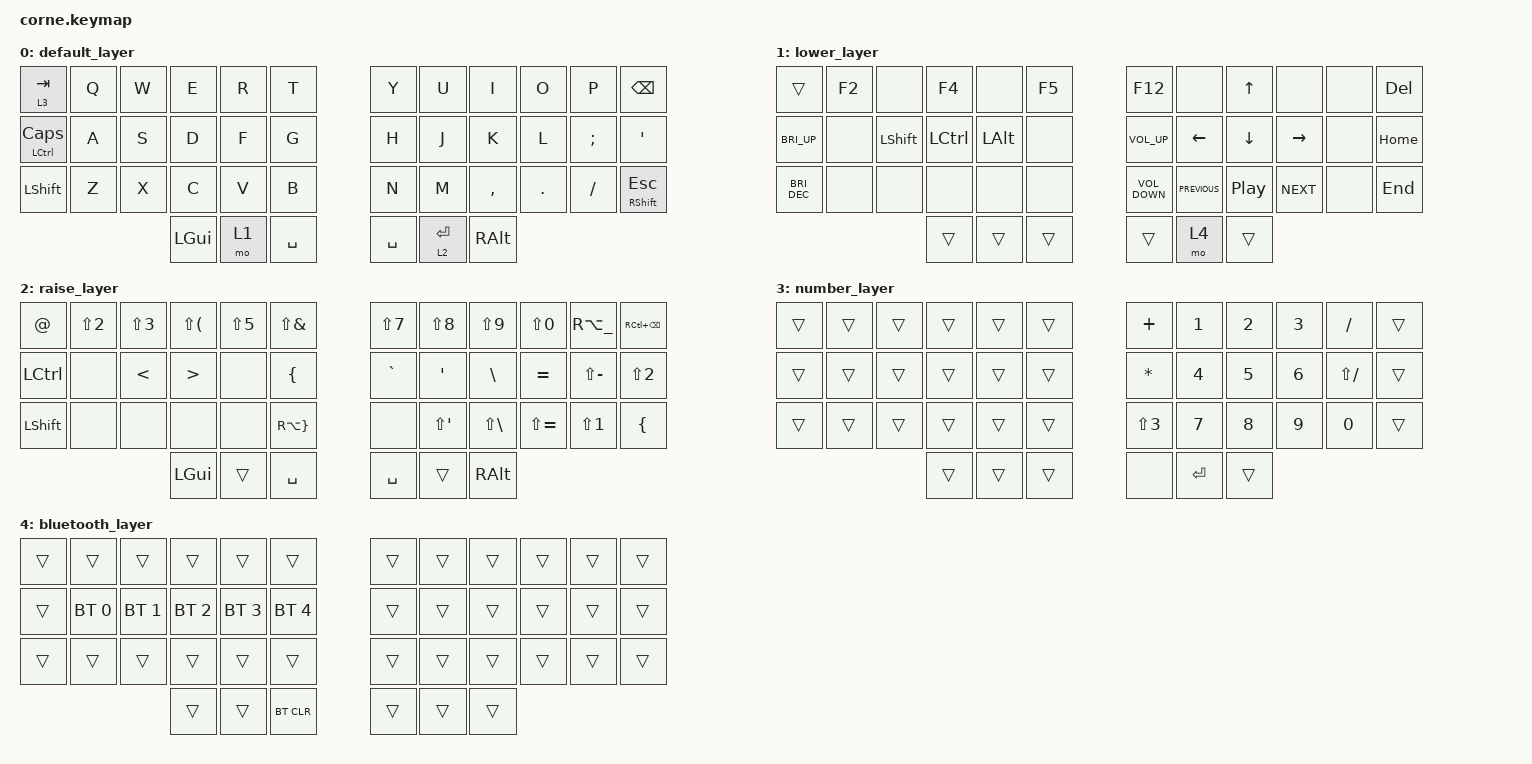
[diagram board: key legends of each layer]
/*
 * Copyright (c) 2020 The ZMK Contributors
 *
 * SPDX-License-Identifier: MIT
 */

#include <behaviors.dtsi>
#include <dt-bindings/zmk/bt.h>
#include <dt-bindings/zmk/keys.h>

/ {
    keymap {
        compatible = "zmk,keymap";

        default_layer {
            // -----------------------------------------------------------------------------------------
            // |LT3TAB|  Q  |  W  |  E  |  R  |  T  |   |  Y  |  U   |  I  |  O  |  P  | BSPC |
            // |CTCAPS|  A  |  S  |  D  |  F  |  G  |   |  H  |  J   |  K  |  L  |  ;  |  '   |
            // | SHFT |  Z  |  X  |  C  |  V  |  B  |   |  N  |  M   |  ,  |  .  |  /  |SHESC |
            //                    | GUI | LWR | SPC |   | SPC |LT2ENT| ALT |

            bindings = <
&lt 3 TAB                  &kp Q  &kp W  &kp E     &kp R  &kp T        &kp Y      &kp U        &kp I      &kp O    &kp P     &kp BSPC
&mt LEFT_CONTROL CAPSLOCK  &kp A  &kp S  &kp D     &kp F  &kp G        &kp H      &kp J        &kp K      &kp L    &kp SEMI  &kp SQT
&kp LEFT_SHIFT             &kp Z  &kp X  &kp C     &kp V  &kp B        &kp N      &kp M        &kp COMMA  &kp DOT  &kp FSLH  &mt RIGHT_SHIFT ESC
                                         &kp LGUI  &mo 1  &kp SPACE    &kp SPACE  &lt 2 ENTER  &kp RALT
            >;
        };

        lower_layer {
            // -----------------------------------------------------------------------------------------
            // |TRANS | F2  |NONE | F4  |NONE | F5  |   | F12 |NONE | UP  |NONE |NONE | DEL |
            // |BRI+ |NONE |SHFT |CTRL | ALT |NONE |   |VOL+ | LFT | DWN | RGT |NONE |HOME |
            // |BRI- |NONE |NONE |NONE |NONE |NONE |   |VOL- |PREV |PLAY |NEXT |NONE | END |
            //                   |TRANS|TRANS|TRANS|   |TRANS| MO4 |TRANS|

            bindings = <
&trans         &kp F2  &none           &kp F4     &none         &kp F5    &kp F12            &none           &kp UP            &none       &none  &kp DELETE
&kp C_BRI_UP   &none   &kp LEFT_SHIFT  &kp LCTRL  &kp LEFT_ALT  &none     &kp C_VOLUME_UP    &kp LEFT        &kp DOWN_ARROW    &kp RIGHT   &none  &kp HOME
&kp C_BRI_DEC  &none   &none           &none      &none         &none     &kp C_VOLUME_DOWN  &kp C_PREVIOUS  &kp C_PLAY_PAUSE  &kp C_NEXT  &none  &kp END
                                       &trans     &trans        &trans    &trans             &mo 4           &trans
            >;
        };

        raise_layer {
            // -----------------------------------------------------------------------------------------
            // |  @   |  "  |  #  |  (  |  %  |  &  |   |  ^  |  *  |  "  |  )  | RA_ |RCBSP|
            // |CTRL |NONE | < | > |NONE |  {  |   |  `  |  '  |  \  |  =  | S- |  S" |
            // |SHFT |NONE |NONE |NONE |NONE |RA} |   |NONE | S' | S\ | S= | S! |  {  |
            //                   | GUI |TRANS| SPC |   | SPC |TRANS| ALT |

            bindings = <
&kp AT_SIGN  &kp LS(NUMBER_2)  &kp LS(NUMBER_3)  &kp LS(LEFT_PARENTHESIS)  &kp LS(N5)  &kp LS(AMPERSAND)      &kp LS(NUMBER_7)  &kp LS(N8)        &kp LS(NUMBER_9)   &kp LS(NUMBER_0)  &kp RA(UNDERSCORE)  &kp RC(BSPC)
&kp LCTRL    &none             &kp LESS_THAN     &kp GREATER_THAN          &none       &kp LEFT_BRACE         &kp GRAVE         &kp SINGLE_QUOTE  &kp BACKSLASH      &kp EQUAL         &kp LS(MINUS)       &kp LS(NUMBER_2)
&kp LSHFT    &none             &none             &none                     &none       &kp RA(RIGHT_BRACE)    &none             &kp LS(APOS)      &kp LS(BACKSLASH)  &kp LS(EQUAL)     &kp LS(NUMBER_1)    &kp LEFT_BRACE
                                                 &kp LGUI                  &trans      &kp SPACE              &kp SPACE         &trans            &kp RALT
            >;
        };

        number_layer {
            // -----------------------------------------------------------------------------------------
            // |TRANS|TRANS|TRANS|TRANS|TRANS|TRANS|   |  +  |  1  |  2  |  3  |  /  |TRANS|
            // |TRANS|TRANS|TRANS|TRANS|TRANS|TRANS|   |  *  |  4  |  5  |  6  | S/ |TRANS|
            // |TRANS|TRANS|TRANS|TRANS|TRANS|TRANS|   | S3 |  7  |  8  |  9  |  0  |TRANS|
            //                   |TRANS|TRANS|TRANS|   |NONE | ENT |TRANS|

            bindings = <
&trans  &trans  &trans  &trans  &trans  &trans    &kp PLUS          &kp NUMBER_1  &kp NUMBER_2  &kp NUMBER_3  &kp SLASH      &trans
&trans  &trans  &trans  &trans  &trans  &trans    &kp STAR          &kp NUMBER_4  &kp N5        &kp NUMBER_6  &kp LS(SLASH)  &trans
&trans  &trans  &trans  &trans  &trans  &trans    &kp LS(NUMBER_3)  &kp N7        &kp N8        &kp N9        &kp NUMBER_0   &trans
                        &trans  &trans  &trans    &none             &kp ENTER     &trans
            >;
        };

        bluetooth_layer {
            // -----------------------------------------------------------------------------------------
            // |TRANS|TRANS|TRANS|TRANS|TRANS|TRANS|   |TRANS|TRANS|TRANS|TRANS|TRANS|TRANS|
            // |TRANS| BT0 | BT1 | BT2 | BT3 | BT4 |   |TRANS|TRANS|TRANS|TRANS|TRANS|TRANS|
            // |TRANS|TRANS|TRANS|TRANS|TRANS|TRANS|   |TRANS|TRANS|TRANS|TRANS|TRANS|TRANS|
            //                   |TRANS|TRANS|BTCLR|   |TRANS|TRANS|TRANS|

            bindings = <
&trans  &trans        &trans        &trans        &trans        &trans          &trans  &trans  &trans  &trans  &trans  &trans
&trans  &bt BT_SEL 0  &bt BT_SEL 1  &bt BT_SEL 2  &bt BT_SEL 3  &bt BT_SEL 4    &trans  &trans  &trans  &trans  &trans  &trans
&trans  &trans        &trans        &trans        &trans        &trans          &trans  &trans  &trans  &trans  &trans  &trans
                                    &trans        &trans        &bt BT_CLR      &trans  &trans  &trans
            >;
        };
    };
};
